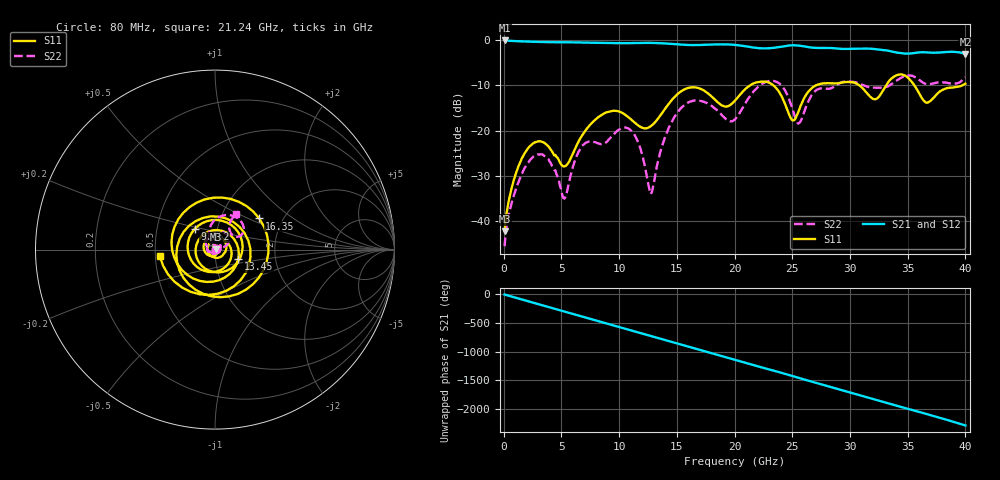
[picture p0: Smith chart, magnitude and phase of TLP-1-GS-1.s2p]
!Agilent Technologies,E8364A,US41440279,A.07.50.26
!5/27/2010 2:03:50 PM
!S2P File: Measurements: s11, s21, s12, s22:
# Hz S  dB  R 50
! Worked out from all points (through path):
!   401 points, 80 MHz to 40 GHz, reference 50 ohm
!   highest |S21| = -0.05 dB at 80 MHz (marker M1); lowest = -3.0 dB at 40 GHz (marker M2)
!   group delay of S21, straight-line fit = 158 ps
!   lowest |S11| = -42.3 dB at 80 MHz (marker M3), VSWR 1.02, Z = 50.7 + j0.218 ohm
!   |S11| at or under -10 dB: start of sweep to 21.34 GHz; 23.37 GHz to 27.04 GHz (3.672 GHz wide, 14.6 % of centre); 35.58 GHz to 39.74 GHz (4.157 GHz wide, 11 % of centre)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
!   |S22| runs from -45.6 to -7.8 dB; largest |S21 - S12| = 0
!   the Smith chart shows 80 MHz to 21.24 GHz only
!   S11 on the Smith chart (normalised r, x): 80 MHz: 1.01, +0.00; 9.062 GHz: 0.78, +0.18; 13.45 GHz: 1.29, -0.14; 16.35 GHz: 1.52, +0.58; 21.24 GHz: 0.53, -0.04
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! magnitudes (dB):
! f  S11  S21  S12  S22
! 80 MHz  -42.3  -0.1  -0.1  -45.6
! 978.2 MHz  -30.1  -0.2  -0.2  -33.7
! 2.176 GHz  -23.7  -0.3  -0.3  -27.0
! 3.673 GHz  -23.0  -0.4  -0.4  -25.8
! 5.27 GHz  -27.9  -0.4  -0.4  -35.1
! 6.767 GHz  -21.2  -0.5  -0.5  -23.5
! 9.062 GHz  -15.9  -0.6  -0.6  -22.1
! 11.16 GHz  -17.8  -0.6  -0.6  -20.3
! 12.75 GHz  -19.0  -0.6  -0.6  -34.1
! 13.45 GHz  -17.1  -0.6  -0.6  -25.9
! 14.75 GHz  -12.7  -0.9  -0.9  -17.2
! 16.35 GHz  -10.4  -1.1  -1.1  -13.4
! 20.04 GHz  -13.4  -1.0  -1.0  -17.5
! 21.24 GHz  -10.2  -1.5  -1.5  -12.7
! 23.43 GHz  -10.1  -1.7  -1.7  -9.0
! 25.03 GHz  -17.8  -1.1  -1.1  -15.3
! 25.63 GHz  -15.2  -1.2  -1.2  -18.3
! 26.73 GHz  -10.5  -1.6  -1.6  -12.0
! 32.22 GHz  -13.1  -2.0  -2.0  -10.5
! 33.41 GHz  -9.0  -2.4  -2.4  -10.0
! 36.71 GHz  -13.8  -2.7  -2.7  -9.7
! 40 GHz  -9.6  -3.0  -3.0  -8.2
